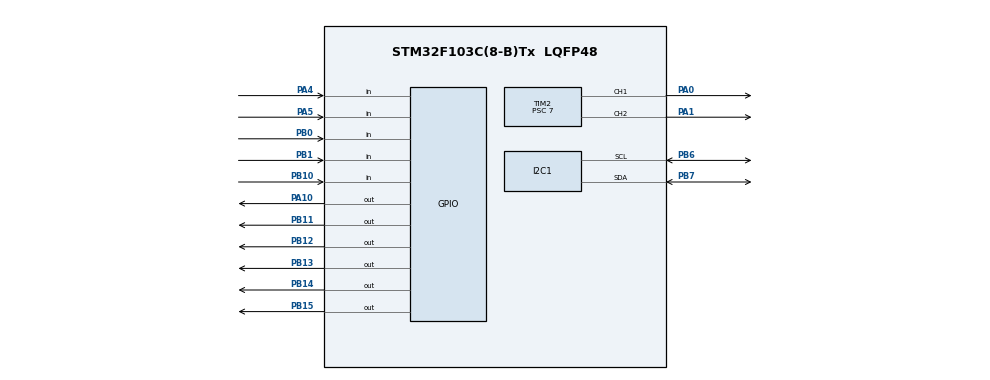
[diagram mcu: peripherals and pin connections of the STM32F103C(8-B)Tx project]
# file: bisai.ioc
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Mcu.Family=STM32F1
Mcu.Name=STM32F103C(8-B)Tx
Mcu.Package=LQFP48
NVIC.PriorityGroup=NVIC_PRIORITYGROUP_4
PA0-WKUP.Signal=S_TIM2_CH1_ETR
PA1.Signal=S_TIM2_CH2
PA10.Signal=GPIO_Output
PA4.GPIO_PuPd=GPIO_PULLUP
PA4.Signal=GPIO_Input
PA5.GPIO_PuPd=GPIO_PULLUP
PA5.Signal=GPIO_Input
PB0.GPIO_PuPd=GPIO_PULLUP
PB0.Signal=GPIO_Input
PB1.GPIO_PuPd=GPIO_PULLUP
PB1.Signal=GPIO_Input
PB10.GPIO_PuPd=GPIO_PULLUP
PB10.Signal=GPIO_Input
PB11.Signal=GPIO_Output
PB12.Signal=GPIO_Output
PB13.Signal=GPIO_Output
PB14.Signal=GPIO_Output
PB15.Signal=GPIO_Output
PB6.Mode=I2C
PB6.Signal=I2C1_SCL
PB7.Mode=I2C
PB7.Signal=I2C1_SDA
ProjectManager.HeapSize=0x200
ProjectManager.StackSize=0x400
ProjectManager.TargetToolchain=MDK-ARM V5.32
RCC.APB1Freq_Value=8000000
RCC.APB2Freq_Value=8000000
SH.S_TIM2_CH1_ETR.0=TIM2_CH1,PWM Generation1 CH1
SH.S_TIM2_CH2.0=TIM2_CH2,PWM Generation2 CH2
TIM2.Channel-PWM\ Generation1\ CH1=TIM_CHANNEL_1
TIM2.Channel-PWM\ Generation2\ CH2=TIM_CHANNEL_2
TIM2.Period=999
TIM2.Prescaler=7
VP_SYS_VS_ND.Mode=No_Debug
VP_TIM2_VS_ClockSourceINT.Mode=Internal
board=custom

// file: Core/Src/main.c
/* USER CODE BEGIN Header */
/**
  ******************************************************************************
  * @file           : main.c
  * @brief          : Main program body
  ******************************************************************************
  */
/* USER CODE END Header */

#include "main.h"

/* USER CODE BEGIN Includes */
#include <stdint.h>
/* USER CODE END Includes */

/* USER CODE BEGIN PTD */
typedef enum
{
  APP_INIT = 0,
  APP_RUN_TO_B,
  APP_STOP_AT_B,
  APP_RUN_TO_C,
  APP_STOP_AT_C,
  APP_FINISH
} AppState_t;
/* USER CODE END PTD */

/* USER CODE BEGIN PD */
#define SENSOR_ACTIVE_LEVEL   GPIO_PIN_RESET   // 黑线输出低电平就用 RESET；如果相反改成 SET

#define PWM_MAX_VALUE         999
#define PWM_BASE_SPEED        620
#define PWM_TURN_SPEED        430
#define PWM_MIN_SPEED         320

#define PID_KP                85
#define PID_KD                35

#define MARKER_COUNT_MIN      4      // 4个及以上传感器同时检测到线，认为是路口/标记
#define MARKER_HOLD_MS        60     // 路口判定稳定时间
#define START_IGNORE_MS       1200    // 上电后前 1.2s 忽略标记，防止起跑就误判
#define MARKER_COOLDOWN_MS     700    // 识别一次标记后，冷却时间，防止重复触发
/* USER CODE END PD */

I2C_HandleTypeDef hi2c1;
TIM_HandleTypeDef htim2;

/* USER CODE BEGIN PV */
static uint8_t  last_dir = 0;      // 0=直行, 1=右偏, 2=左偏
static int16_t  last_error = 0;

static AppState_t app_state = APP_INIT;
static uint32_t state_tick = 0;
static uint32_t marker_enter_tick = 0;
static uint32_t last_marker_trigger_tick = 0;
static uint8_t marker_latched = 0;

static uint8_t b_done = 0;
/* USER CODE END PV */

void SystemClock_Config(void);
static void MX_GPIO_Init(void);
static void MX_TIM2_Init(void);
static void MX_I2C1_Init(void);
/* USER CODE BEGIN PFP */
void Buzzer_On(void);
void Buzzer_Off(void);
void Buzzer_Beep(uint16_t ms);
void Buzzer_Beep3(void);

void Motor_Enable(void);
void Motor_Set(uint16_t left_pwm, uint16_t right_pwm);
void Motor_Stop(void);

uint8_t LineSensor_Read(void);
uint8_t LineSensor_Count(uint8_t s);
int16_t  LineSensor_Error(uint8_t s, uint8_t *count);

void LineFollow_Task(void);
void App_Task(void);
/* USER CODE END PFP */

/* USER CODE BEGIN 0 */

void Buzzer_On(void)
{
  HAL_GPIO_WritePin(GPIOA, GPIO_PIN_10, GPIO_PIN_SET);
}

void Buzzer_Off(void)
{
  HAL_GPIO_WritePin(GPIOA, GPIO_PIN_10, GPIO_PIN_RESET);
}

void Buzzer_Beep(uint16_t ms)
{
  Buzzer_On();
  HAL_Delay(ms);
  Buzzer_Off();
}

void Buzzer_Beep3(void)
{
  for (uint8_t i = 0; i < 3; i++)
  {
    Buzzer_Beep(120);
    HAL_Delay(120);
  }
}

void Motor_Enable(void)
{
  HAL_GPIO_WritePin(GPIOB, GPIO_PIN_11, GPIO_PIN_SET); // STBY = 1
}

static uint16_t clamp_pwm(int32_t v)
{
  if (v < 0) return 0;
  if (v > PWM_MAX_VALUE) return PWM_MAX_VALUE;
  return (uint16_t)v;
}

void Motor_Set(uint16_t left_pwm, uint16_t right_pwm)
{
  Motor_Enable();

  // 默认前进
  HAL_GPIO_WritePin(GPIOB, GPIO_PIN_12, GPIO_PIN_SET);   // AIN1
  HAL_GPIO_WritePin(GPIOB, GPIO_PIN_13, GPIO_PIN_RESET); // AIN2

  HAL_GPIO_WritePin(GPIOB, GPIO_PIN_14, GPIO_PIN_SET);   // BIN1
  HAL_GPIO_WritePin(GPIOB, GPIO_PIN_15, GPIO_PIN_RESET); // BIN2

  if (left_pwm > PWM_MAX_VALUE)  left_pwm  = PWM_MAX_VALUE;
  if (right_pwm > PWM_MAX_VALUE) right_pwm = PWM_MAX_VALUE;

  __HAL_TIM_SET_COMPARE(&htim2, TIM_CHANNEL_1, left_pwm);
  __HAL_TIM_SET_COMPARE(&htim2, TIM_CHANNEL_2, right_pwm);
}

void Motor_Stop(void)
{
  __HAL_TIM_SET_COMPARE(&htim2, TIM_CHANNEL_1, 0);
  __HAL_TIM_SET_COMPARE(&htim2, TIM_CHANNEL_2, 0);
}

uint8_t LineSensor_Read(void)
{
  uint8_t s = 0;

  // bit0~bit4: 左到右五个传感器
  if (HAL_GPIO_ReadPin(GPIOA, GPIO_PIN_4)  == SENSOR_ACTIVE_LEVEL) s |= (1 << 0);
  if (HAL_GPIO_ReadPin(GPIOA, GPIO_PIN_5)  == SENSOR_ACTIVE_LEVEL) s |= (1 << 1);
  if (HAL_GPIO_ReadPin(GPIOB, GPIO_PIN_0)  == SENSOR_ACTIVE_LEVEL) s |= (1 << 2);
  if (HAL_GPIO_ReadPin(GPIOB, GPIO_PIN_1)  == SENSOR_ACTIVE_LEVEL) s |= (1 << 3);
  if (HAL_GPIO_ReadPin(GPIOB, GPIO_PIN_10) == SENSOR_ACTIVE_LEVEL) s |= (1 << 4);

  return s;
}

uint8_t LineSensor_Count(uint8_t s)
{
  uint8_t c = 0;
  for (uint8_t i = 0; i < 5; i++)
  {
    if (s & (1 << i)) c++;
  }
  return c;
}

int16_t LineSensor_Error(uint8_t s, uint8_t *count)
{
  int16_t error = 0;
  uint8_t c = 0;

  // 权重：左负右正
  if (s & (1 << 0)) { error -= 2; c++; }
  if (s & (1 << 1)) { error -= 1; c++; }
  if (s & (1 << 2)) { error += 0; c++; }
  if (s & (1 << 3)) { error += 1; c++; }
  if (s & (1 << 4)) { error += 2; c++; }

  if (count) *count = c;
  return error;
}

void LineFollow_Task(void)
{
  uint8_t s = LineSensor_Read();
  uint8_t count = 0;
  int16_t error = LineSensor_Error(s, &count);

  // 找不到线：按上一次偏向去找线
  if (count == 0)
  {
    if (last_dir == 1)
    {
      Motor_Set(PWM_TURN_SPEED, PWM_BASE_SPEED);   // 向右找线
    }
    else if (last_dir == 2)
    {
      Motor_Set(PWM_BASE_SPEED, PWM_TURN_SPEED);   // 向左找线
    }
    else
    {
      Motor_Stop();
    }
    return;
  }

  // PID
  int16_t derivative = error - last_error;
  int32_t correction = (PID_KP * error) + (PID_KD * derivative);

  int32_t left_pwm  = PWM_BASE_SPEED - correction;
  int32_t right_pwm = PWM_BASE_SPEED + correction;

  left_pwm  = clamp_pwm(left_pwm);
  right_pwm = clamp_pwm(right_pwm);

  // 保底速度，防止太低不转
  if (left_pwm  < PWM_MIN_SPEED)  left_pwm  = PWM_MIN_SPEED;
  if (right_pwm < PWM_MIN_SPEED)  right_pwm = PWM_MIN_SPEED;

  Motor_Set((uint16_t)left_pwm, (uint16_t)right_pwm);

  if (error > 0)      last_dir = 1;
  else if (error < 0) last_dir = 2;
  else                last_dir = 0;

  last_error = error;
}

void App_Task(void)
{
  uint8_t s = LineSensor_Read();
  uint8_t marker = (LineSensor_Count(s) >= MARKER_COUNT_MIN);
  uint32_t now = HAL_GetTick();

  // 上电初始化阶段
  if (app_state == APP_INIT)
  {
    Motor_Stop();
    Buzzer_Beep3();

    state_tick = now;
    last_marker_trigger_tick = 0;
    marker_latched = 0;
    b_done = 0;

    app_state = APP_RUN_TO_B;
    return;
  }

  // 标记去抖逻辑
  if (marker)
  {
    if (!marker_latched)
    {
      marker_latched = 1;
      marker_enter_tick = now;
    }
  }
  else
  {
    marker_latched = 0;
  }

  // 路口/标记触发冷却
  uint8_t marker_ready = 0;
  if (marker_latched &&
      (now - marker_enter_tick >= MARKER_HOLD_MS) &&
      (now - last_marker_trigger_tick >= MARKER_COOLDOWN_MS))
  {
    marker_ready = 1;
    last_marker_trigger_tick = now;
  }

  switch (app_state)
  {
    case APP_RUN_TO_B:
      LineFollow_Task();

      // 起跑后一段时间再允许识别 B，防止起点误判
      if ((now - state_tick > START_IGNORE_MS) && marker_ready)
      {
        Motor_Stop();
        Buzzer_Beep3();

        b_done = 1;
        state_tick = now;
        marker_latched = 0;

        app_state = APP_RUN_TO_C;
      }
      break;

    case APP_RUN_TO_C:
      LineFollow_Task();

      // 继续沿线跑，遇到第二个标记点就到 C
      if ((now - state_tick > START_IGNORE_MS) && marker_ready)
      {
        Motor_Stop();
        Buzzer_Beep3();

        state_tick = now;
        app_state = APP_FINISH;
        marker_latched = 0;
      }
      break;

    case APP_FINISH:
      Motor_Stop();
      break;

    default:
      Motor_Stop();
      break;
  }
}

/* USER CODE END 0 */

int main(void)
{
  HAL_Init();
  SystemClock_Config();

  MX_GPIO_Init();
  MX_TIM2_Init();
  MX_I2C1_Init();

  // 启动 PWM
  HAL_TIM_PWM_Start(&htim2, TIM_CHANNEL_1);
  HAL_TIM_PWM_Start(&htim2, TIM_CHANNEL_2);

  // 上电提示音
  Buzzer_Beep(100);

  while (1)
  {
    App_Task();
    HAL_Delay(10);
  }
}

void SystemClock_Config(void)
{
  RCC_OscInitTypeDef RCC_OscInitStruct = {0};
  RCC_ClkInitTypeDef RCC_ClkInitStruct = {0};

  RCC_OscInitStruct.OscillatorType = RCC_OSCILLATORTYPE_HSI;
  RCC_OscInitStruct.HSIState = RCC_HSI_ON;
  RCC_OscInitStruct.HSICalibrationValue = RCC_HSICALIBRATION_DEFAULT;
  RCC_OscInitStruct.PLL.PLLState = RCC_PLL_NONE;
  if (HAL_RCC_OscConfig(&RCC_OscInitStruct) != HAL_OK)
  {
    Error_Handler();
  }

  RCC_ClkInitStruct.ClockType = RCC_CLOCKTYPE_HCLK|RCC_CLOCKTYPE_SYSCLK
                              |RCC_CLOCKTYPE_PCLK1|RCC_CLOCKTYPE_PCLK2;
  RCC_ClkInitStruct.SYSCLKSource = RCC_SYSCLKSOURCE_HSI;
  RCC_ClkInitStruct.AHBCLKDivider = RCC_SYSCLK_DIV1;
  RCC_ClkInitStruct.APB1CLKDivider = RCC_HCLK_DIV1;
  RCC_ClkInitStruct.APB2CLKDivider = RCC_HCLK_DIV1;

  if (HAL_RCC_ClockConfig(&RCC_ClkInitStruct, FLASH_LATENCY_0) != HAL_OK)
  {
    Error_Handler();
  }
}

static void MX_I2C1_Init(void)
{
  hi2c1.Instance = I2C1;
  hi2c1.Init.ClockSpeed = 100000;
  hi2c1.Init.DutyCycle = I2C_DUTYCYCLE_2;
  hi2c1.Init.OwnAddress1 = 0;
  hi2c1.Init.AddressingMode = I2C_ADDRESSINGMODE_7BIT;
  hi2c1.Init.DualAddressMode = I2C_DUALADDRESS_DISABLE;
  hi2c1.Init.OwnAddress2 = 0;
  hi2c1.Init.GeneralCallMode = I2C_GENERALCALL_DISABLE;
  hi2c1.Init.NoStretchMode = I2C_NOSTRETCH_DISABLE;

  if (HAL_I2C_Init(&hi2c1) != HAL_OK)
  {
    Error_Handler();
  }
}

static void MX_TIM2_Init(void)
{
  TIM_ClockConfigTypeDef sClockSourceConfig = {0};
  TIM_MasterConfigTypeDef sMasterConfig = {0};
  TIM_OC_InitTypeDef sConfigOC = {0};

  htim2.Instance = TIM2;
  htim2.Init.Prescaler = 7;
  htim2.Init.CounterMode = TIM_COUNTERMODE_UP;
  htim2.Init.Period = 999;
  htim2.Init.ClockDivision = TIM_CLOCKDIVISION_DIV1;
  htim2.Init.AutoReloadPreload = TIM_AUTORELOAD_PRELOAD_DISABLE;

  if (HAL_TIM_Base_Init(&htim2) != HAL_OK)
  {
    Error_Handler();
  }

  sClockSourceConfig.ClockSource = TIM_CLOCKSOURCE_INTERNAL;
  if (HAL_TIM_ConfigClockSource(&htim2, &sClockSourceConfig) != HAL_OK)
  {
    Error_Handler();
  }

  if (HAL_TIM_PWM_Init(&htim2) != HAL_OK)
  {
    Error_Handler();
  }

  sMasterConfig.MasterOutputTrigger = TIM_TRGO_RESET;
  sMasterConfig.MasterSlaveMode = TIM_MASTERSLAVEMODE_DISABLE;
  if (HAL_TIMEx_MasterConfigSynchronization(&htim2, &sMasterConfig) != HAL_OK)
  {
    Error_Handler();
  }

  sConfigOC.OCMode = TIM_OCMODE_PWM1;
  sConfigOC.Pulse = 0;
  sConfigOC.OCPolarity = TIM_OCPOLARITY_HIGH;
  sConfigOC.OCFastMode = TIM_OCFAST_DISABLE;

  if (HAL_TIM_PWM_ConfigChannel(&htim2, &sConfigOC, TIM_CHANNEL_1) != HAL_OK)
  {
    Error_Handler();
  }

  if (HAL_TIM_PWM_ConfigChannel(&htim2, &sConfigOC, TIM_CHANNEL_2) != HAL_OK)
  {
    Error_Handler();
  }

  HAL_TIM_MspPostInit(&htim2);
}

static void MX_GPIO_Init(void)
{
  GPIO_InitTypeDef GPIO_InitStruct = {0};

  __HAL_RCC_GPIOA_CLK_ENABLE();
  __HAL_RCC_GPIOB_CLK_ENABLE();

  /* 输出初始电平 */
  HAL_GPIO_WritePin(GPIOB, GPIO_PIN_11|GPIO_PIN_12|GPIO_PIN_13|GPIO_PIN_14|GPIO_PIN_15, GPIO_PIN_RESET);
  HAL_GPIO_WritePin(GPIOA, GPIO_PIN_10, GPIO_PIN_RESET);

  /* 5路循迹输入 */
  GPIO_InitStruct.Pin = GPIO_PIN_4 | GPIO_PIN_5;
  GPIO_InitStruct.Mode = GPIO_MODE_INPUT;
  GPIO_InitStruct.Pull = GPIO_PULLUP;
  HAL_GPIO_Init(GPIOA, &GPIO_InitStruct);

  GPIO_InitStruct.Pin = GPIO_PIN_0 | GPIO_PIN_1 | GPIO_PIN_10;
  GPIO_InitStruct.Mode = GPIO_MODE_INPUT;
  GPIO_InitStruct.Pull = GPIO_PULLUP;
  HAL_GPIO_Init(GPIOB, &GPIO_InitStruct);

  /* 电机控制脚 */
  GPIO_InitStruct.Pin = GPIO_PIN_11 | GPIO_PIN_12 | GPIO_PIN_13 | GPIO_PIN_14 | GPIO_PIN_15;
  GPIO_InitStruct.Mode = GPIO_MODE_OUTPUT_PP;
  GPIO_InitStruct.Pull = GPIO_NOPULL;
  GPIO_InitStruct.Speed = GPIO_SPEED_FREQ_LOW;
  HAL_GPIO_Init(GPIOB, &GPIO_InitStruct);

  /* 蜂鸣器 */
  GPIO_InitStruct.Pin = GPIO_PIN_10;
  GPIO_InitStruct.Mode = GPIO_MODE_OUTPUT_PP;
  GPIO_InitStruct.Pull = GPIO_NOPULL;
  GPIO_InitStruct.Speed = GPIO_SPEED_FREQ_LOW;
  HAL_GPIO_Init(GPIOA, &GPIO_InitStruct);

  /* TIM2 PWM 输出：PA0 / PA1 */
  GPIO_InitStruct.Pin = GPIO_PIN_0 | GPIO_PIN_1;
  GPIO_InitStruct.Mode = GPIO_MODE_AF_PP;
  GPIO_InitStruct.Pull = GPIO_NOPULL;
  GPIO_InitStruct.Speed = GPIO_SPEED_FREQ_HIGH;
  HAL_GPIO_Init(GPIOA, &GPIO_InitStruct);
}

void Error_Handler(void)
{
  while (1)
  {
    HAL_GPIO_TogglePin(GPIOA, GPIO_PIN_10);
    HAL_Delay(100);
  }
}
